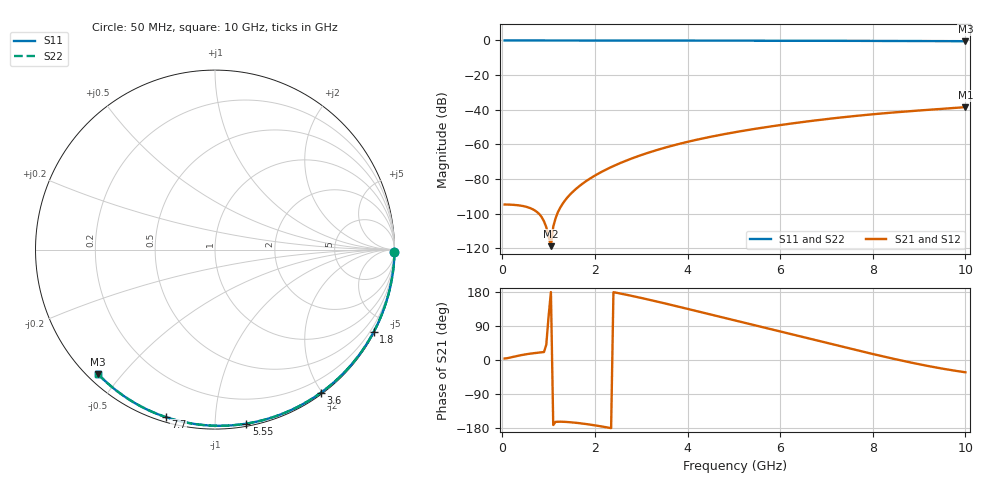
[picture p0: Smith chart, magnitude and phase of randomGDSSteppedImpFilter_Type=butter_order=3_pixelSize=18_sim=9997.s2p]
! freq	dB(S11)	phase(S11)	dB(S12)	phase(S12)
!  dB(S21)	phase(S21)	dB(S22)	phase(S22)
!S-par simulation data
#  GHz  S  DB  R 50
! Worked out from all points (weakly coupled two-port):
!   200 points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, 50 MHz to 10 GHz, reference 50 ohm
!   highest |S21| = -38.52 dB at 10 GHz (marker M1); lowest = -118.8 dB at 1.05 GHz (marker M2)
!   lowest |S11| = -0.4 dB at 10 GHz (marker M3), VSWR 40.42, Z = 1.47 - j21.6 ohm
!   |S11| at or under -10 dB: nowhere
!   |S22| runs from -0.4 to 0.0 dB; largest |S21 - S12| = 0
!   S11 on the Smith chart (normalised r, x): 50 MHz: open; 1.8 GHz: 0.04, -4.11; 3.6 GHz: 0.02, -1.99; 5.55 GHz: 0.02, -1.20; 7.7 GHz: 0.02, -0.75; 10 GHz: 0.03, -0.43
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0.05  -0.00 -0.8  -94.74 3.9  -94.74 3.9  -0.00 -0.8
0.55  -0.01 -8.5  -96.32 15.9  -96.32 15.9  -0.01 -8.5
1.05  -0.02 -16.1  -118.80 179.4  -118.80 179.4  -0.02 -16.1
1.75  -0.03 -26.6  -82.36 -168.0  -82.36 -168.0  -0.03 -26.6
1.8  -0.03 -27.3  -81.41 -168.8  -81.41 -168.8  -0.03 -27.3
1.85  -0.04 -28.1  -80.52 -169.7  -80.52 -169.7  -0.04 -28.1
1.9  -0.04 -28.8  -79.65 -170.5  -79.65 -170.5  -0.04 -28.8
2.05  -0.04 -31.0  -77.26 -173.4  -77.26 -173.4  -0.04 -31.0
2.25  -0.04 -34.0  -74.43 -177.6  -74.43 -177.6  -0.04 -34.0
2.65  -0.05 -39.8  -69.66 173.0  -69.66 173.0  -0.05 -39.8
3  -0.06 -44.9  -66.18 163.8  -66.18 163.8  -0.06 -44.9
3.4  -0.07 -50.6  -62.78 152.6  -62.78 152.6  -0.07 -50.6
3.6  -0.07 -53.4  -61.27 146.8  -61.27 146.8  -0.07 -53.4
4.3  -0.09 -63.1  -56.74 126.0  -56.74 126.0  -0.09 -63.1
5.05  -0.11 -73.2  -52.86 103.5  -52.86 103.5  -0.11 -73.2
5.55  -0.13 -79.7  -50.66 88.5  -50.66 88.5  -0.13 -79.7
6.1  -0.15 -86.8  -48.49 72.2  -48.49 72.2  -0.15 -86.8
6.7  -0.18 -94.3  -46.38 54.3  -46.38 54.3  -0.18 -94.3
7.7  -0.24 -106.4  -43.40 24.5  -43.40 24.5  -0.24 -106.4
8.35  -0.29 -114.1  -41.80 5.9  -41.80 5.9  -0.29 -114.1
9.15  -0.36 -123.4  -40.15 -14.8  -40.15 -14.8  -0.36 -123.4
10  -0.43 -133.1  -38.52 -32.4  -38.52 -32.4  -0.43 -133.1
